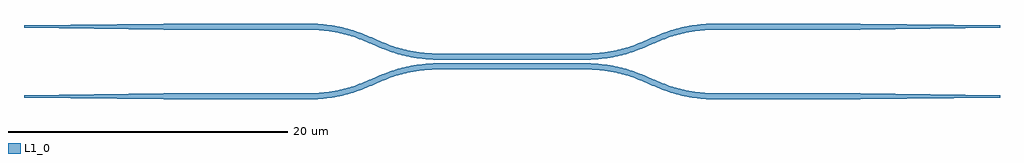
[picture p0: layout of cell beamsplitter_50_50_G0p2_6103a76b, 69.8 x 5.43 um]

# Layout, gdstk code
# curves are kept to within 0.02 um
from math import pi, radians
import gdstk
lib = gdstk.Library(unit=1e-6, precision=1e-09)
def R(c, l, rs):  # rectangles x0, y0, x1, y1
    for r in rs: c.add(gdstk.rectangle(r[:2], r[2:], *l))
def P(c, l, *ps):  # polygons
    for p in ps: c.add(gdstk.Polygon(p, *l))
L1_0 = (1, 0)

coupler_g0p25_l9p8_d5_d_ = lib.new_cell('coupler_G0p25_L9p8_D5_D_085c6e54')
P(coupler_g0p25_l9p8_d5_d_, L1_0, [(-10,-2.375),(-10,-1.945),(-8.636,-1.883),(-7.422,-1.695),(-6.256,-1.358),(-4.14,-0.49),(-3.071,-0.142),(-2.459,-0.001),(-1.777,0.109),(-1.146,0.174),(-0.304,0.212),(9.8,0.215),(10.538,0.198),(11.332,0.138),(12.259,-0.001),(13.338,-0.278),(14.184,-0.586),(15.894,-1.298),(17.027,-1.65),(17.634,-1.776),(18.314,-1.871),(19.8,-1.945),(19.8,-2.375),(18.654,-2.334),(17.45,-2.18),(16.632,-1.992),(15.911,-1.763),(13.866,-0.923),(13.033,-0.634),(11.966,-0.384),(10.914,-0.255),(9.8,-0.215),(-0.296,-0.218),(-1.722,-0.317),(-2.376,-0.423),(-2.961,-0.558),(-3.986,-0.892),(-6.111,-1.763),(-6.737,-1.965),(-7.33,-2.115),(-8.594,-2.311)],
  [(0,0.465),(-0.876,0.489),(-1.655,0.556),(-2.35,0.66),(-3.071,0.822),(-3.889,1.077),(-6.014,1.948),(-7.039,2.282),(-7.728,2.437),(-8.514,2.551),(-10,2.625),(-10,3.055),(-8.594,2.991),(-7.33,2.795),(-6.737,2.645),(-6.111,2.443),(-3.986,1.572),(-2.961,1.238),(-2.272,1.083),(-1.486,0.969),(0,0.895),(9.8,0.895),(11.286,0.969),(12.278,1.124),(13.208,1.368),(14.023,1.665),(15.743,2.381),(16.926,2.748),(17.56,2.879),(18.268,2.978),(19.062,3.038),(19.8,3.055),(19.8,2.625),(18.314,2.551),(17.634,2.456),(17.027,2.33),(15.894,1.978),(14.184,1.266),(13.428,0.987),(12.573,0.748),(11.577,0.571),(10.813,0.497),(9.953,0.466)])

taper_l10_w0p43_w0p2_pn_ = lib.new_cell('taper_L10_W0p43_W0p2_PN_df4b8446')
P(taper_l10_w0p43_w0p2_pn_, L1_0, [(0,-0.215),(0,0.215),(10,0.1),(10,-0.1)])

straight_l10_n2_csxs_253 = lib.new_cell('straight_L10_N2_CSxs_253683c2')
R(straight_l10_n2_csxs_253, L1_0, [(0,-0.215,10,0.215)])

beamsplitter_50_50_g0p2_ = lib.new_cell('beamsplitter_50_50_G0p2_6103a76b')
beamsplitter_50_50_g0p2_.add(gdstk.Reference(coupler_g0p25_l9p8_d5_d_, (0,0)))
beamsplitter_50_50_g0p2_.add(gdstk.Reference(taper_l10_w0p43_w0p2_pn_, (-20,-2.16), rotation=pi))
beamsplitter_50_50_g0p2_.add(gdstk.Reference(taper_l10_w0p43_w0p2_pn_, (-20,2.84), rotation=pi))
beamsplitter_50_50_g0p2_.add(gdstk.Reference(taper_l10_w0p43_w0p2_pn_, (29.8,2.84)))
beamsplitter_50_50_g0p2_.add(gdstk.Reference(taper_l10_w0p43_w0p2_pn_, (29.8,-2.16)))
beamsplitter_50_50_g0p2_.add(gdstk.Reference(straight_l10_n2_csxs_253, (-10,-2.16), rotation=pi))
beamsplitter_50_50_g0p2_.add(gdstk.Reference(straight_l10_n2_csxs_253, (-10,2.84), rotation=pi))
beamsplitter_50_50_g0p2_.add(gdstk.Reference(straight_l10_n2_csxs_253, (19.8,2.84)))
beamsplitter_50_50_g0p2_.add(gdstk.Reference(straight_l10_n2_csxs_253, (19.8,-2.16)))

lib.write_gds('beamsplitter_50_50_G0p2_6103a76b.gds')
